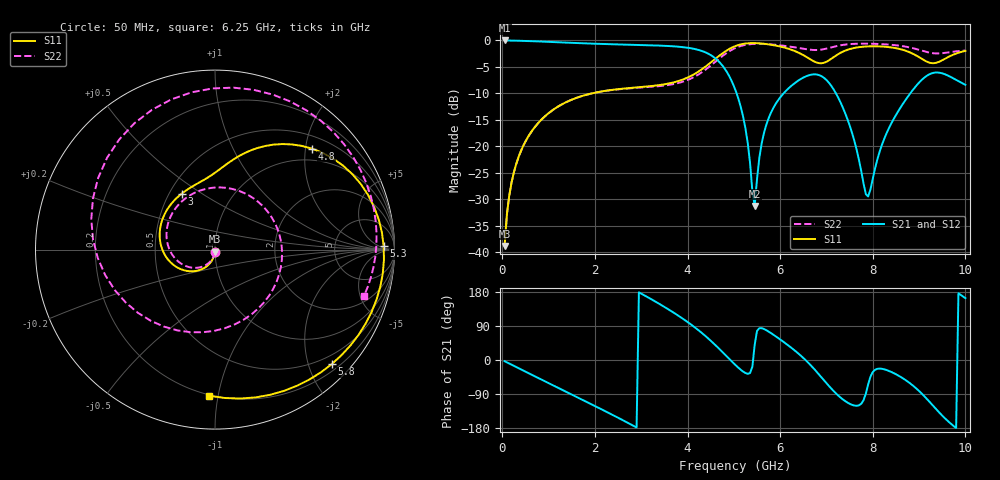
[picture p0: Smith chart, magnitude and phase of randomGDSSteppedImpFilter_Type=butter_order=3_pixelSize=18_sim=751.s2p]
! freq	dB(S11)	phase(S11)	dB(S12)	phase(S12)
!  dB(S21)	phase(S21)	dB(S22)	phase(S22)
!S-par simulation data
#  GHz  S  DB  R 50
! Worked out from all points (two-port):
!   200 points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, 50 MHz to 10 GHz, reference 50 ohm
!   highest |S21| = 0.00 dB at 50 MHz (marker M1); lowest = -31.3 dB at 5.45 GHz (marker M2)
!   |S21| within 3 dB of the highest: start of sweep to 4.542 GHz
!   lowest |S11| = -38.9 dB at 50 MHz (marker M3), VSWR 1.02, Z = 49.9 - j1.14 ohm
!   |S11| at or under -10 dB: start of sweep to 1.942 GHz
!   |S22| runs from -38.9 to -0.6 dB; largest |S21 - S12| = 0
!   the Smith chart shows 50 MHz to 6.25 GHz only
!   S11 on the Smith chart (normalised r, x): 50 MHz: 1.00, -0.02; 3 GHz: 0.58, +0.41; 4.8 GHz: 0.74, +2.13; 5.3 GHz: 30, +9; 5.8 GHz: 0.32, -2.40; 6.25 GHz: 0.19, -0.94
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0.05  -38.86 -92.5  -0.00 -3.1  -0.00 -3.1  -38.91 -93.0
0.2  -26.85 -101.3  -0.03 -12.4  -0.03 -12.4  -26.87 -103.4
0.5  -19.11 -118.3  -0.10 -30.7  -0.10 -30.7  -19.12 -124.1
1.75  -10.44 176.1  -0.54 -106.2  -0.54 -106.2  -10.44 150.0
3  -8.81 120.8  -0.87 175.2  -0.87 175.2  -8.91 48.7
3.4  -8.43 106.2  -0.98 147.5  -0.98 147.5  -8.63 8.0
4.25  -5.81 78.5  -1.83 77.2  -1.83 77.2  -6.37 -106.7
4.8  -2.16 46.3  -5.31 15.3  -5.31 15.3  -2.65 157.3
5.05  -1.01 24.3  -9.76 -15.0  -9.76 -15.0  -1.37 114.3
5.3  -0.54 1.1  -19.39 -36.5  -19.39 -36.5  -0.76 76.4
5.45  -0.50 -12.7  -31.31 39.9  -31.31 39.9  -0.65 56.7
5.8  -0.81 -44.5  -13.69 71.2  -13.69 71.2  -0.75 18.9
6.25  -1.78 -92.4  -8.52 31.4  -8.52 31.4  -1.22 -17.3
6.7  -3.82 -173.2  -6.43 -19.1  -6.43 -19.1  -1.79 -41.8
7.05  -3.78 85.8  -7.96 -68.1  -7.96 -68.1  -1.44 -55.3
7.45  -1.78 2.4  -14.82 -112.1  -14.82 -112.1  -0.74 -75.0
7.9  -1.12 -51.0  -29.50 -64.6  -29.50 -64.6  -0.61 -97.2
8.35  -1.27 -93.9  -16.57 -28.9  -16.57 -28.9  -0.79 -117.8
8.95  -2.91 -173.9  -8.46 -76.2  -8.46 -76.2  -1.65 -143.9
9.3  -4.31 98.2  -6.15 -120.5  -6.15 -120.5  -2.42 -154.6
9.6  -3.27 23.2  -6.55 -158.7  -6.55 -158.7  -2.30 -163.0
10  -1.97 -33.4  -8.40 163.3  -8.40 163.3  -1.91 178.0
